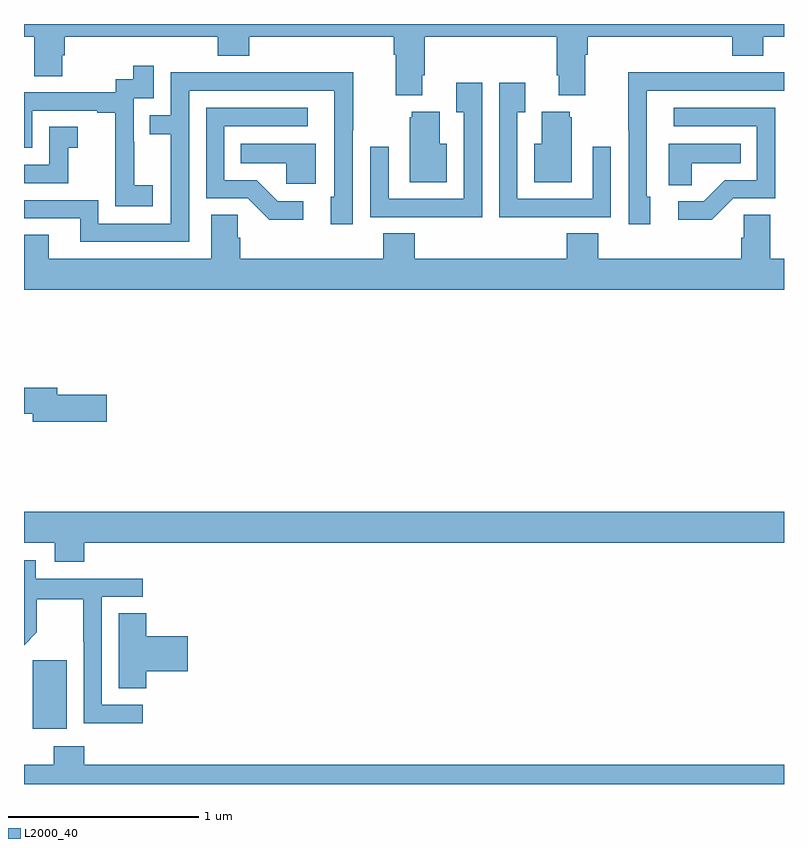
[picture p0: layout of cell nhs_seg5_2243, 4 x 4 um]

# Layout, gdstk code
import gdstk
lib = gdstk.Library(unit=1e-6, precision=1e-09)
def R(c, l, rs):  # rectangles x0, y0, x1, y1
    for r in rs: c.add(gdstk.rectangle(r[:2], r[2:], *l))
def P(c, l, *ps):  # polygons
    for p in ps: c.add(gdstk.Polygon(p, *l))
L2000_40 = (2000, 40)

nhs_seg5_2243 = lib.new_cell('nhs_seg5_2243')
R(nhs_seg5_2243, L2000_40, [(241.046,881.09,241.225,881.451)])
P(nhs_seg5_2243, L2000_40, [(243.097,884.53),(243.11,884.53),(243.11,884.732),(243.803,884.732),(243.803,884.53),(243.815,884.53),(243.815,884.423),(243.955,884.423),(243.955,884.636),(243.968,884.636),(243.968,884.732),(244.727,884.732),(244.727,884.633),(244.892,884.633),(244.892,884.732),(245,884.732),(245,884.799),(241,884.799),(241,884.732),(241.054,884.732),(241.054,884.524),(241.201,884.524),(241.201,884.634),(241.214,884.634),(241.214,884.732),(242.021,884.732),(242.021,884.633),(242.186,884.633),(242.186,884.732),(242.945,884.732),(242.945,884.636),(242.957,884.636),(242.957,884.423),(243.097,884.423)],
  [(241.678,883.951),(241.58,883.951),(241.58,884.18),(241.578,884.18),(241.578,884.409),(241.683,884.409),(241.683,884.578),(241.575,884.578),(241.575,884.508),(241.482,884.508),(241.482,884.439),(241,884.439),(241,884.148),(241.044,884.148),(241.044,884.343),(241.385,884.343),(241.385,884.331),(241.481,884.331),(241.481,884.047),(241.48,884.047),(241.48,883.841),(241.678,883.841)],
  [(241.869,884.448),(242.633,884.448),(242.633,884.194),(242.634,884.194),(242.634,883.89),(242.615,883.89),(242.615,883.746),(242.73,883.746),(242.73,884.239),(242.733,884.239),(242.733,884.546),(242.269,884.546),(242.269,884.544),(241.773,884.544),(241.773,884.319),(241.663,884.319),(241.663,884.218),(241.773,884.218),(241.773,883.749),(241.392,883.749),(241.392,883.872),(241,883.872),(241,883.776),(241.295,883.776),(241.295,883.653),(241.869,883.653)],
  [(244.297,883.89),(244.278,883.89),(244.278,884.448),(245,884.448),(245,884.544),(244.643,884.544),(244.643,884.546),(244.18,884.546),(244.18,884.239),(244.182,884.239),(244.182,883.746),(244.297,883.746)],
  [(243.411,884.491),(243.275,884.491),(243.275,884.335),(243.315,884.335),(243.315,883.878),(242.919,883.878),(242.919,884.152),(242.823,884.152),(242.823,883.782),(243.139,883.782),(243.139,883.781),(243.411,883.781)],
  [(243.773,883.782),(244.089,883.782),(244.089,884.152),(243.993,884.152),(243.993,883.878),(243.597,883.878),(243.597,884.335),(243.637,884.335),(243.637,884.491),(243.501,884.491),(243.501,883.781),(243.773,883.781)],
  [(244.734,883.881),(244.953,883.881),(244.953,884.358),(244.419,884.358),(244.419,884.262),(244.857,884.262),(244.857,883.977),(244.688,883.977),(244.577,883.866),(244.443,883.866),(244.443,883.769),(244.621,883.769)],
  [(242.47,883.866),(242.335,883.866),(242.224,883.977),(242.055,883.977),(242.055,884.262),(242.494,884.262),(242.494,884.358),(241.959,884.358),(241.959,883.881),(242.178,883.881),(242.291,883.769),(242.47,883.769)],
  [(243.226,884.17),(243.187,884.17),(243.187,884.338),(243.041,884.338),(243.041,884.307),(243.029,884.307),(243.029,883.967),(243.226,883.967)],
  [(243.883,884.307),(243.872,884.307),(243.872,884.338),(243.725,884.338),(243.725,884.17),(243.686,884.17),(243.686,883.967),(243.883,883.967)],
  [(241.233,884.147),(241.282,884.147),(241.282,884.257),(241.134,884.257),(241.134,884.058),(241,884.058),(241,883.962),(241.233,883.962)],
  [(244.515,884.066),(244.772,884.066),(244.772,884.17),(244.394,884.17),(244.394,883.951),(244.515,883.951)],
  [(242.536,884.17),(242.14,884.17),(242.14,884.066),(242.379,884.066),(242.379,883.958),(242.536,883.958)],
  [(245,883.564),(244.927,883.564),(244.927,883.796),(244.788,883.796),(244.788,883.673),(244.775,883.673),(244.775,883.564),(244.022,883.564),(244.022,883.697),(243.857,883.697),(243.857,883.564),(243.056,883.564),(243.056,883.697),(242.891,883.697),(242.891,883.564),(242.138,883.564),(242.138,883.673),(242.124,883.673),(242.124,883.796),(241.985,883.796),(241.985,883.564),(241.129,883.564),(241.129,883.691),(241,883.691),(241,883.4),(245,883.4)],
  [(241.435,882.848),(241.174,882.848),(241.174,882.884),(241,882.884),(241,882.748),(241.046,882.748),(241.046,882.706),(241.435,882.706)],
  [(241.316,882.068),(245,882.068),(245,882.232),(241,882.232),(241,882.068),(241.163,882.068),(241.163,881.969),(241.316,881.969)],
  [(241.624,881.217),(241.41,881.217),(241.41,881.784),(241.624,881.784),(241.624,881.88),(241.062,881.88),(241.062,881.977),(241,881.977),(241,881.53),(241.067,881.597),(241.067,881.772),(241.312,881.772),(241.312,881.548),(241.314,881.548),(241.314,881.119),(241.624,881.119)],
  [(241.643,881.393),(241.861,881.393),(241.861,881.576),(241.643,881.576),(241.643,881.699),(241.499,881.699),(241.499,881.302),(241.643,881.302)],
  [(241.316,880.999),(241.156,880.999),(241.156,880.9),(241,880.9),(241,880.799),(245,880.799),(245,880.9),(241.316,880.9)])

lib.write_gds('nhs_seg5_2243.gds')
